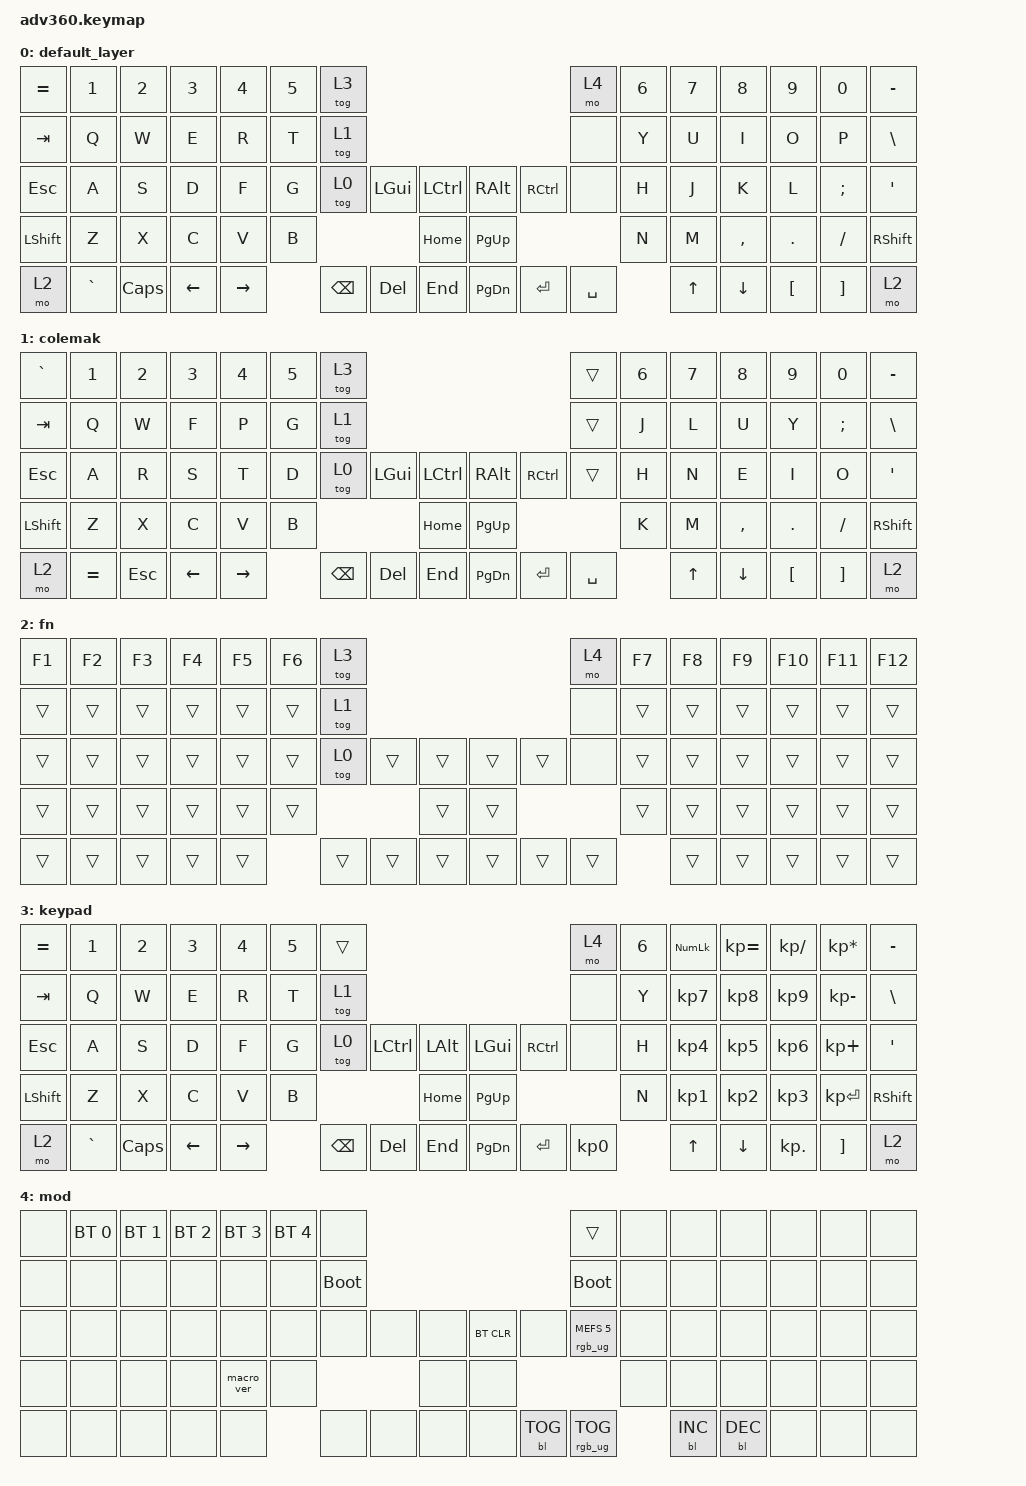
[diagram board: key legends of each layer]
#include <behaviors.dtsi>
#include <dt-bindings/zmk/backlight.h>
#include <dt-bindings/zmk/bt.h>
#include <dt-bindings/zmk/keys.h>
#include <dt-bindings/zmk/rgb.h>

/ {
    behaviors {
        #include "macros.dtsi"
      #include "version.dtsi"
      #ifndef VERSION_MACRO

        macro_ver: macro_ver {
            compatible = "zmk,behavior-macro";
            label = "macro_version";
            #binding-cells = <0>;
            bindings = <&kp RET>;
        };

        #endif

        hm: homerow_mods {
            compatible = "zmk,behavior-hold-tap";
            label = "HOMEROW_MODS";
            #binding-cells = <2>;
            tapping-term-ms = <200>;
            quick_tap_ms = <175>;
            flavor = "tap-preferred";
            bindings = <&kp>, <&kp>;
        };
    };

    macros {
    };

    keymap {
        compatible = "zmk,keymap";

        default_layer {
            bindings = <
&kp EQUAL  &kp N1     &kp N2    &kp N3    &kp N4     &kp N5  &tog 3                                                   &mo 4      &kp N6  &kp N7  &kp N8     &kp N9    &kp N0    &kp MINUS
&kp TAB    &kp Q      &kp W     &kp E     &kp R      &kp T   &tog 1                                                   &none      &kp Y   &kp U   &kp I      &kp O     &kp P     &kp BSLH
&kp ESC    &kp A      &kp S     &kp D     &kp F      &kp G   &tog 0    &kp LGUI  &kp LCTRL      &kp RALT   &kp RCTRL  &none      &kp H   &kp J   &kp K      &kp L     &kp SEMI  &kp SQT
&kp LSHFT  &kp Z      &kp X     &kp C     &kp V      &kp B                       &kp HOME       &kp PG_UP                        &kp N   &kp M   &kp COMMA  &kp DOT   &kp FSLH  &kp RSHFT
&mo 2      &kp GRAVE  &kp CAPS  &kp LEFT  &kp RIGHT          &kp BSPC  &kp DEL   &kp END        &kp PG_DN  &kp ENTER  &kp SPACE          &kp UP  &kp DOWN   &kp LBKT  &kp RBKT  &mo 2
            >;
        };

        colemak {
            bindings = <
&kp GRAVE   &kp N1     &kp N2      &kp N3    &kp N4     &kp N5  &tog 3                                                       &trans     &kp N6  &kp N7  &kp N8     &kp N9    &kp N0    &kp MINUS
&kp TAB     &kp Q      &kp W       &kp F     &kp P      &kp G   &tog 1                                                       &trans     &kp J   &kp L   &kp U      &kp Y     &kp SEMI  &kp BSLH
&kp ESCAPE  &kp A      &kp R       &kp S     &kp T      &kp D   &tog 0    &kp LEFT_GUI  &kp LCTRL      &kp RALT   &kp RCTRL  &trans     &kp H   &kp N   &kp E      &kp I     &kp O     &kp SQT
&kp LSHFT   &kp Z      &kp X       &kp C     &kp V      &kp B                           &kp HOME       &kp PG_UP                        &kp K   &kp M   &kp COMMA  &kp DOT   &kp FSLH  &kp RSHFT
&mo 2       &kp EQUAL  &kp ESCAPE  &kp LEFT  &kp RIGHT          &kp BSPC  &kp DEL       &kp END        &kp PG_DN  &kp RET    &kp SPACE          &kp UP  &kp DOWN   &kp LBKT  &kp RBKT  &mo 2
            >;
        };

        fn {
            bindings = <
&kp F1  &kp F2  &kp F3  &kp F4  &kp F5  &kp F6  &tog 3                                      &mo 4   &kp F7  &kp F8  &kp F9  &kp F10  &kp F11  &kp F12
&trans  &trans  &trans  &trans  &trans  &trans  &tog 1                                      &none   &trans  &trans  &trans  &trans   &trans   &trans
&trans  &trans  &trans  &trans  &trans  &trans  &tog 0  &trans  &trans      &trans  &trans  &none   &trans  &trans  &trans  &trans   &trans   &trans
&trans  &trans  &trans  &trans  &trans  &trans                  &trans      &trans                  &trans  &trans  &trans  &trans   &trans   &trans
&trans  &trans  &trans  &trans  &trans          &trans  &trans  &trans      &trans  &trans  &trans          &trans  &trans  &trans   &trans   &trans
            >;
        };

        keypad {
            bindings = <
&kp EQUAL  &kp N1     &kp N2    &kp N3    &kp N4     &kp N5  &trans                                                   &mo 4      &kp N6  &kp KP_NUM  &kp KP_EQUAL  &kp KP_DIVIDE  &kp KP_MULTIPLY  &kp MINUS
&kp TAB    &kp Q      &kp W     &kp E     &kp R      &kp T   &tog 1                                                   &none      &kp Y   &kp KP_N7   &kp KP_N8     &kp KP_N9      &kp KP_MINUS     &kp BSLH
&kp ESC    &kp A      &kp S     &kp D     &kp F      &kp G   &tog 0    &kp LCTRL  &kp LALT      &kp LGUI   &kp RCTRL  &none      &kp H   &kp KP_N4   &kp KP_N5     &kp KP_N6      &kp KP_PLUS      &kp SQT
&kp LSHFT  &kp Z      &kp X     &kp C     &kp V      &kp B                        &kp HOME      &kp PG_UP                        &kp N   &kp KP_N1   &kp KP_N2     &kp KP_N3      &kp KP_ENTER     &kp RSHFT
&mo 2      &kp GRAVE  &kp CAPS  &kp LEFT  &kp RIGHT          &kp BSPC  &kp DEL    &kp END       &kp PG_DN  &kp ENTER  &kp KP_N0          &kp UP      &kp DOWN      &kp KP_DOT     &kp RBKT         &mo 2
            >;
        };

        mod {
            bindings = <
&none  &bt BT_SEL 0  &bt BT_SEL 1  &bt BT_SEL 2  &bt BT_SEL 3  &bt BT_SEL 4  &none                                                  &trans                  &none  &none       &none       &none  &none  &none
&none  &none         &none         &none         &none         &none         &bootloader                                            &bootloader             &none  &none       &none       &none  &none  &none
&none  &none         &none         &none         &none         &none         &none        &none  &none      &bt BT_CLR  &none       &rgb_ug RGB_MEFS_CMD 5  &none  &none       &none       &none  &none  &none
&none  &none         &none         &none         &macro_ver    &none                             &none      &none                                           &none  &none       &none       &none  &none  &none
&none  &none         &none         &none         &none                       &none        &none  &none      &none       &bl BL_TOG  &rgb_ug RGB_TOG                &bl BL_INC  &bl BL_DEC  &none  &none  &none
            >;
        };
    };
};
